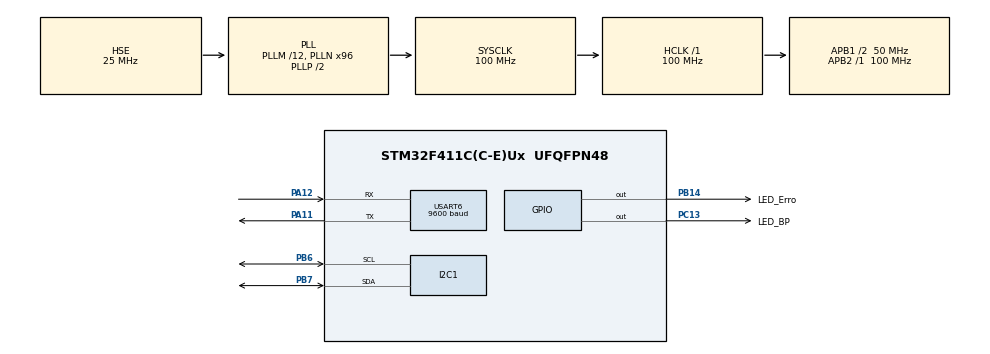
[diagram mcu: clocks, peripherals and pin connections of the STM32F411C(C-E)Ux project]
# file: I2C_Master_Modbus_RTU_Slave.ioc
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Dma.Request0=USART6_RX
Dma.USART6_RX.0.Direction=DMA_PERIPH_TO_MEMORY
Dma.USART6_RX.0.FIFOMode=DMA_FIFOMODE_DISABLE
Dma.USART6_RX.0.Instance=DMA2_Stream1
Dma.USART6_RX.0.MemDataAlignment=DMA_MDATAALIGN_BYTE
Dma.USART6_RX.0.MemInc=DMA_MINC_ENABLE
Dma.USART6_RX.0.Mode=DMA_NORMAL
Dma.USART6_RX.0.PeriphDataAlignment=DMA_PDATAALIGN_BYTE
Dma.USART6_RX.0.PeriphInc=DMA_PINC_DISABLE
Dma.USART6_RX.0.Priority=DMA_PRIORITY_MEDIUM
IWDG.Prescaler=IWDG_PRESCALER_256
IWDG.Reload=1500-1
Mcu.Family=STM32F4
Mcu.Name=STM32F411C(C-E)Ux
Mcu.Package=UFQFPN48
NVIC.DMA2_Stream1_IRQn=true\:0\:0\:false\:false\:true\:false\:true\:true
NVIC.I2C1_ER_IRQn=true\:0\:0\:false\:false\:true\:true\:true\:true
NVIC.I2C1_EV_IRQn=true\:0\:0\:false\:false\:true\:true\:true\:true
NVIC.PriorityGroup=NVIC_PRIORITYGROUP_4
NVIC.TIM3_IRQn=true\:0\:0\:false\:false\:true\:true\:true\:true
NVIC.USART6_IRQn=true\:0\:0\:false\:false\:true\:true\:true\:true
PA11.Mode=Asynchronous
PA11.Signal=USART6_TX
PA12.Mode=Asynchronous
PA12.Signal=USART6_RX
PA13.Mode=Serial_Wire
PA13.Signal=SYS_JTMS-SWDIO
PA14.Mode=Serial_Wire
PA14.Signal=SYS_JTCK-SWCLK
PB14.GPIO_Label=LED_Erro
PB14.Signal=GPIO_Output
PB6.Mode=I2C
PB6.Signal=I2C1_SCL
PB7.Mode=I2C
PB7.Signal=I2C1_SDA
PC13-ANTI_TAMP.GPIO_Label=LED_BP
PC13-ANTI_TAMP.Signal=GPIO_Output
PH0\ -\ OSC_IN.Mode=HSE-External-Oscillator
PH0\ -\ OSC_IN.Signal=RCC_OSC_IN
PH1\ -\ OSC_OUT.Mode=HSE-External-Oscillator
PH1\ -\ OSC_OUT.Signal=RCC_OSC_OUT
ProjectManager.HeapSize=0x200
ProjectManager.StackSize=0x400
ProjectManager.TargetToolchain=STM32CubeIDE
RCC.48MHZClocksFreq_Value=50000000
RCC.AHBFreq_Value=100000000
RCC.APB1CLKDivider=RCC_HCLK_DIV2
RCC.APB1Freq_Value=50000000
RCC.APB1TimFreq_Value=100000000
RCC.APB2Freq_Value=100000000
RCC.APB2TimFreq_Value=100000000
RCC.CortexFreq_Value=100000000
RCC.HCLKFreq_Value=100000000
RCC.HSE_VALUE=25000000
RCC.HSI_VALUE=16000000
RCC.LSE_VALUE=32768
RCC.PLLM=12
RCC.PLLN=96
RCC.PLLSourceVirtual=RCC_PLLSOURCE_HSE
RCC.SYSCLKFreq_VALUE=100000000
RCC.SYSCLKSource=RCC_SYSCLKSOURCE_PLLCLK
RCC.VCOOutputFreq_Value=200000000
TIM3.AutoReloadPreload=TIM_AUTORELOAD_PRELOAD_ENABLE
TIM3.Period=10-1
TIM3.Prescaler=10000-1
USART6.BaudRate=9600
USART6.VirtualMode=VM_ASYNC
VP_IWDG_VS_IWDG.Mode=IWDG_Activate
VP_TIM3_VS_ClockSourceINT.Mode=Internal
board=custom

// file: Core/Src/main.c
/* USER CODE BEGIN Header */
/**
  ******************************************************************************
  * @file           : main.c
  * @brief          : Main program body
  ******************************************************************************
  * @attention
  *
  * Copyright (c) 2025 STMicroelectronics.
  * All rights reserved.
  *
  * This software is licensed under terms that can be found in the LICENSE file
  * in the root directory of this software component.
  * If no LICENSE file comes with this software, it is provided AS-IS.
  *
  ******************************************************************************
  */
/* USER CODE END Header */
#include "main.h"

/* USER CODE BEGIN Includes */
#include "i2c_master.h"

#include <stdio.h>
#include <stdlib.h>
#include <string.h>
#include <math.h>
/* USER CODE END Includes */

/* USER CODE BEGIN PD */
#define MODBUS_RTU_ID 1															// Endereço de Escravo do STM32
#define MODBUS_RTU_Timeout 1000													// Em ms
#define MODBUS_RTU_Broadcast 0													// 0 - Desativado | 1 - Ativado
#define MODBUS_RTU_USART huart6													// USART selecionada, caso troque pela interface IOC, atualizar manualmente por aqui.
#define MODBUS_RTU_HDMA_USART_RX hdma_usart6_rx									// USART selecionada, caso troque pela interface IOC, atualizar manualmente por aqui.
#define MODBUS_RTU_Tamanho_Buffer_RX 256										// Tamanho máximo para evitar sobrecarga

#define MODBUS_RTU_Codigo_Read_Coil 1
#define MODBUS_RTU_Codigo_Read_Discrete_Input 2
#define MODBUS_RTU_Codigo_Read_Holding_Register 3
#define MODBUS_RTU_Codigo_Read_Input_Register 4
#define MODBUS_RTU_Codigo_Write_Single_Coil 5
#define MODBUS_RTU_Codigo_Write_Single_Register 6
#define MODBUS_RTU_Codigo_Write_Multiple_Coils 15
#define MODBUS_RTU_Codigo_Write_Multiple_Registers 16

#define MODBUS_RTU_Codigo_Erro_Read_Coil 129
#define MODBUS_RTU_Codigo_Erro_Read_Discrete_Input 130
#define MODBUS_RTU_Codigo_Erro_Read_Holding_Register 131
#define MODBUS_RTU_Codigo_Erro_Read_Input_Register 132
#define MODBUS_RTU_Codigo_Erro_Write_Single_Coil 133
#define MODBUS_RTU_Codigo_Erro_Write_Single_Register 134
#define MODBUS_RTU_Codigo_Erro_Write_Multiple_Coils 143
#define MODBUS_RTU_Codigo_Erro_Write_Multiple_Registers 144

#define MODBUS_RTU_Codigo_Erro_Illegal_Function 1								// Código de função recebido na consulta não é reconhecido ou permitido pelo servidor
#define MODBUS_RTU_Codigo_Erro_Illegal_Data_Address	2							// O endereço de dados de algumas ou todas as entidades necessárias não é permitido ou não existe no servidor
#define MODBUS_RTU_Codigo_Erro_Illegal_Data_Value 3								// O valor não é aceito pelo servidor
#define MODBUS_RTU_Codigo_Erro_Server_Device_Failure 4							// Ocorreu um erro irrecuperável enquanto o servidor tentava executar a ação solicitada
#define MODBUS_RTU_Codigo_Erro_Acknowledge 5									// O servidor aceitou a solicitação e está processando-a, mas é necessário um longo período de tempo. Essa resposta é retornada para evitar que ocorra um erro de tempo limite no cliente. Em seguida, o cliente pode emitir uma mensagem de Poll Program Complete para determinar se o processamento foi concluído
#define MODBUS_RTU_Codigo_Erro_Server_Device_Busy 6								// O servidor está envolvido no processamento de um comando de longa duração; o cliente deve tentar novamente mais tarde
#define MODBUS_RTU_Codigo_Erro_Negative_Acknowledge	7							// O servidor não pode executar as funções de programação; o cliente deve solicitar informações de diagnóstico ou erro do servidor
#define MODBUS_RTU_Codigo_Erro_Memory_Parity_Error 8							// O servidor detectou um erro de paridade na memória; o cliente pode repetir a solicitação
#define MODBUS_RTU_Codigo_Erro_Gateway_Path_Unavailable	10						// Especializado para gateways Modbus: indica um gateway mal configurado
#define MODBUS_RTU_Codigo_Erro_Gateway_Target_Device_Failed_to_Respond 11		// Especializado para gateways Modbus: enviado quando o servidor não responde

#define GPIO_LED_BP GPIOC
#define GPIO_LED_Erro GPIOB

#define TempoTesteReles 100
#define TEMPO_LED_ERRO 10

#define QTD_ERRO_MODBUS 10

#define USART6_PERSONALIZADO 1
/* USER CODE END PD */

/* USER CODE BEGIN PM */
#define	Bit(n)							(1 << n) 										// retorna o valor de um bit específico
#define CLEAR_Bit(x, Bit)				(x &= ~(1 << Bit))								// limpa o valor de um bit específico em uma variável
#define GET_Bit(x, n)   				(((x) >> (n)) & 0x01)							// retorna o valor de um bit específico em uma variável									// retorna o valor de um bit específico em uma variável
#define SET_Bit(x, Bit)					(x |= (1 << Bit))								// define o valor de um bit específico em uma variável
#define TEST_Bit(x, Bit)				((x >> Bit) & 1)								// retorna se o valor de um bit específico em uma variável é 1 ou 0
#define TOGGLE_Bit(x, Bit)				(x ^= (1 << Bit))								// inverte o valor de um bit específico em uma variável
#define ROTATE_LEFT(x, n)				(x = (x << n) | (x >> (sizeof(x) * 8 - n)))		// rotaciona os bits de uma variável x para a esquerda n vezes
#define ROTATE_RIGHT(x, n)				(x = (x >> n)									// rotaciona os bits de uma variável x para a direita n vezes
#define compare_enum_greater_equal(x,y) ((uint16_t)(x)>=(uint16_t)(y))
#define MIN(a, b) 						(((a) < (b)) ? (a) : (b))
/* USER CODE END PM */

I2C_HandleTypeDef hi2c1;

IWDG_HandleTypeDef hiwdg;

TIM_HandleTypeDef htim3;

UART_HandleTypeDef huart6;
DMA_HandleTypeDef hdma_usart6_rx;

/* USER CODE BEGIN PV */
struct _Bits
{
	unsigned WD_MODBUS_RTU : 1;
	unsigned M_Baud_9600 : 1;
	unsigned M_Baud_19200 : 1;
	unsigned M_Teste_Reles : 1;
	unsigned M_LED_Erro : 1;
	unsigned M_Troca_Baud : 1;
}Bit;

uint8_t txDataValue[2] = {0};
uint8_t rxDataValue[2] = {0};

volatile uint16_t MODBUS_CRC;					//CRC Total
volatile uint8_t MODBUS_CRC_High_Byte;			//CRC High Byte
volatile uint8_t MODBUS_CRC_Low_Byte;			//CRC Low Byte

volatile uint8_t MODBUS_RTU_Escravo = MODBUS_RTU_ID;

uint8_t MODBUS_RTU_Buffer_RX[256]; //Variável Global Para Recebimento de Dados Serial.
uint8_t MODBUS_RTU_Buffer_TX[256]; //Variável Global Para Transmissão de Dados Serial.

uint8_t MODBUS_RTU_Buffer_RX_Auxiliar[256]; //Variável Global Para Recebimento de Dados Serial.

//uint8_t MODBUS_RTU_Tamanho_Buffer_RX; //Variável Global Para Tamanho do RX.

volatile uint16_t MODBUS_RTU_Endereco = 0;
volatile uint16_t MODBUS_RTU_Quantidade_Bits = 0;
volatile uint16_t MODBUS_RTU_Quantidade_Bytes = 0;
volatile uint16_t MODBUS_RTU_Quantidade_Registers = 0;

volatile uint8_t MODBUS_RTU_Valor_Bit = 0;
volatile uint16_t MODBUS_RTU_Valor_Registrador = 0;

uint8_t LED = 0;

uint8_t flagI2C = 0;
uint8_t falhaI2C = 0;

volatile uint8_t contadorFlagI2C = 0;
volatile uint8_t ContadorErroModbus = 0;
volatile uint8_t ContadorInterrupcaoUsartModbus = 0;
volatile uint8_t TemporizadorInterrupcaoUsartModbus = 0;

volatile uint16_t ContadorTesteReles = 0;
volatile uint16_t ContadorLedErro = 0;

volatile uint32_t baudRate = 9600;
// Variáveis relativas ao Modbus

// Declaração dos endereços do tipo discrete inputs (bits somente de leitura)
enum _Enderecos_Discrete_Inputs
{
	Alarme1,
	Alarme2,
	Alarme3,
	Alarme4,
	Alarme5,
	Alarme6,
	Alarme7,
	Alarme8,
	Alarme9,
	Alarme10,
	Alarme11,
	Alarme12,
	Falha_I2C,

	Quantidade_Discrete_Inputs = 16
}Enderecos_Discrete_Inputs;

// Declaração dos endereços do tipo coils (bits de leitura e escrita)
enum _Enderecos_Coils
{

	Quantidade_Coils = 16
}Enderecos_Coils;

// Declaração dos endereços do tipo input registers (registradores somente de leitura)
enum _Enderecos_Input_Registers
{
	Alarmesx1,
	Alarmesx2,

	Quantidade_Input_Registers
}Enderecos_Input_Registers;

// Declaração dos endereços do tipo holding registers (registradores de leitura e escrita)
enum _Enderecos_Holding_Registers
{

	Quantidade_Holding_Registers
}Enderecos_Holding_Registers;

// Matrizes do Modbus

// Declaração de uma matriz para armazenar os valores referentes às discrete inputs
uint8_t Discrete_Inputs[Quantidade_Discrete_Inputs];

// Declaração de uma matriz para armazenar os valores referentes aos coils
uint8_t Coils[Quantidade_Coils];

// Declaração de uma matriz para armazenar os valores referentes aos input registers
uint16_t Input_Registers[Quantidade_Input_Registers];

// Declaração de uma matriz para armazenar os valores referentes aos holding registers
uint16_t Holding_Registers[Quantidade_Holding_Registers];
/* USER CODE END PV */

void SystemClock_Config(void);
static void MX_GPIO_Init(void);
static void MX_DMA_Init(void);
static void MX_I2C1_Init(void);
static void MX_USART6_UART_Init(void);
static void MX_TIM3_Init(void);
static void MX_IWDG_Init(void);
/* USER CODE BEGIN PFP */
//Função de Cálculo CRC Modbus;
uint16_t Calculo_CRC_MODBUS(uint8_t buf[], uint16_t len)
{
    uint16_t crc = 0xFFFF;

    for (uint16_t i = 0; i < len; i++)
    {
        crc ^= buf[i];

        for (uint16_t j = 0; j < 8; j++)
        {
            if (crc & 0x0001) crc = (crc >> 1) ^ 0xA001;
            else crc = (crc >> 1);
        }
    }
    return crc;
}

void MODBUS_RTU_Funcao_Erro(uint8_t Codigo_Erro)		// FUNÇÃO ERRO
{
	if (MODBUS_RTU_Buffer_RX[0] != 0)
	{
		MODBUS_RTU_Buffer_TX[0] = MODBUS_RTU_Escravo;								//Endereço de Escravo
		MODBUS_RTU_Buffer_TX[1] = MODBUS_RTU_Buffer_RX[1] + 128;					//Código da Função com Erro
		MODBUS_RTU_Buffer_TX[2] = Codigo_Erro;										//

		MODBUS_CRC = Calculo_CRC_MODBUS(MODBUS_RTU_Buffer_TX, 3);

		MODBUS_RTU_Buffer_TX[3] = MODBUS_CRC & 0xFF;
		MODBUS_RTU_Buffer_TX[4] = MODBUS_CRC >> 8;

		HAL_UART_Transmit(&MODBUS_RTU_USART, MODBUS_RTU_Buffer_TX, 5, MODBUS_RTU_Timeout);

		if (Bit.M_LED_Erro == 0)
		{
			HAL_GPIO_WritePin(GPIO_LED_Erro, LED_Erro_Pin, 1);
			Bit.M_LED_Erro = 1;
		}

		ContadorErroModbus = ContadorErroModbus + 2;
	}
}

void MODBUS_RTU_Funcao_Read_Coil()						// FUNÇÃO 01
{
	if (Quantidade_Coils > 0)
	{
		MODBUS_RTU_Endereco = (MODBUS_RTU_Buffer_RX[2] << 8) | (MODBUS_RTU_Buffer_RX[3]);
		MODBUS_RTU_Quantidade_Bits = (MODBUS_RTU_Buffer_RX[4] << 8) | (MODBUS_RTU_Buffer_RX[5]);
		MODBUS_RTU_Quantidade_Bytes = (MODBUS_RTU_Quantidade_Bits + 7) / 8;

		if ((MODBUS_RTU_Endereco + MODBUS_RTU_Quantidade_Bits) <= MIN(Quantidade_Coils, 9999))
		{
			MODBUS_RTU_Buffer_TX[0] = MODBUS_RTU_Escravo;												//Endereço de Escravo
			MODBUS_RTU_Buffer_TX[1] = MODBUS_RTU_Codigo_Read_Coil;										//Código da Função
			MODBUS_RTU_Buffer_TX[2] = MODBUS_RTU_Quantidade_Bytes;										//Número de Bytes de Dados

			uint8_t Contador = 0;
			for (int i = 0; i < MODBUS_RTU_Quantidade_Bits; i++)
			{
			    if (Contador < 8)
			    {
			    	if (Coils[i + MODBUS_RTU_Endereco] == 1)
			    	{
			    		SET_Bit (MODBUS_RTU_Buffer_TX[3 + (i / 8)], Contador);
			    	}
			    	else
			    	{
			    		CLEAR_Bit (MODBUS_RTU_Buffer_TX[3 + (i / 8)], Contador);
			    	}
			        Contador++;
			    }
			    if (Contador >= 8) Contador = 0;
			}

			//Executa Função do Cálculo do CRC
			MODBUS_CRC = Calculo_CRC_MODBUS(MODBUS_RTU_Buffer_TX, MODBUS_RTU_Quantidade_Bytes + 3);
			MODBUS_RTU_Buffer_TX[MODBUS_RTU_Quantidade_Bytes + 3] = MODBUS_CRC & 0xFF;
			MODBUS_RTU_Buffer_TX[MODBUS_RTU_Quantidade_Bytes + 4] = MODBUS_CRC >> 8;

			HAL_UART_Transmit(&MODBUS_RTU_USART, MODBUS_RTU_Buffer_TX, MODBUS_RTU_Quantidade_Bytes + 5, MODBUS_RTU_Timeout);
		}
		else MODBUS_RTU_Funcao_Erro(MODBUS_RTU_Codigo_Erro_Illegal_Data_Address);
	}
	else MODBUS_RTU_Funcao_Erro(MODBUS_RTU_Codigo_Erro_Illegal_Function);
}

void MODBUS_RTU_Funcao_Read_Discrete_Input()			// FUNÇÃO 02
{
	if (Quantidade_Discrete_Inputs > 0)
	{
		MODBUS_RTU_Endereco = (MODBUS_RTU_Buffer_RX[2] << 8) | (MODBUS_RTU_Buffer_RX[3]);
		MODBUS_RTU_Quantidade_Bits = (MODBUS_RTU_Buffer_RX[4] << 8) | (MODBUS_RTU_Buffer_RX[5]);
		MODBUS_RTU_Quantidade_Bytes = (MODBUS_RTU_Quantidade_Bits + 7) / 8;

		if ((MODBUS_RTU_Endereco + MODBUS_RTU_Quantidade_Bits) <= MIN(Quantidade_Discrete_Inputs, 9999))
		{
			MODBUS_RTU_Buffer_TX[0] = MODBUS_RTU_Escravo;												//Endereço de Escravo
			MODBUS_RTU_Buffer_TX[1] = MODBUS_RTU_Codigo_Read_Discrete_Input;							//Código da Função
			MODBUS_RTU_Buffer_TX[2] = MODBUS_RTU_Quantidade_Bytes;										//Número de Bytes de Dados

			uint8_t Contador = 0;
			for (int i = 0; i < MODBUS_RTU_Quantidade_Bits; i++)
			{
			    if (Contador < 8)
			    {
			    	if (Discrete_Inputs[i + MODBUS_RTU_Endereco] == 1)
			    	{
			    		SET_Bit (MODBUS_RTU_Buffer_TX[3 + (i / 8)], Contador);
			    	}
			    	else
			    	{
			    		CLEAR_Bit (MODBUS_RTU_Buffer_TX[3 + (i / 8)], Contador);
			    	}
			        Contador++;
			    }
			    if (Contador >= 8) Contador = 0;
			}

			//Executa Função do Cálculo do CRC
			MODBUS_CRC = Calculo_CRC_MODBUS(MODBUS_RTU_Buffer_TX, MODBUS_RTU_Quantidade_Bytes + 3);
			MODBUS_RTU_Buffer_TX[MODBUS_RTU_Quantidade_Bytes + 3] = MODBUS_CRC & 0xFF;
			MODBUS_RTU_Buffer_TX[MODBUS_RTU_Quantidade_Bytes + 4] = MODBUS_CRC >> 8;

			HAL_UART_Transmit(&MODBUS_RTU_USART, MODBUS_RTU_Buffer_TX, MODBUS_RTU_Quantidade_Bytes + 5, MODBUS_RTU_Timeout);
		}
		else MODBUS_RTU_Funcao_Erro(MODBUS_RTU_Codigo_Erro_Illegal_Data_Address);
	}
	else MODBUS_RTU_Funcao_Erro(MODBUS_RTU_Codigo_Erro_Illegal_Function);
}

void MODBUS_RTU_Funcao_Read_Holding_Register()			// FUNÇÃO 03
{
	if (Quantidade_Holding_Registers > 0)
	{
		MODBUS_RTU_Endereco = (MODBUS_RTU_Buffer_RX[2] << 8) | (MODBUS_RTU_Buffer_RX[3]);
		MODBUS_RTU_Quantidade_Registers = (MODBUS_RTU_Buffer_RX[4] << 8) | (MODBUS_RTU_Buffer_RX[5]);

		if ((MODBUS_RTU_Endereco + MODBUS_RTU_Quantidade_Registers) <= MIN(Quantidade_Holding_Registers, 9999))
		{
			MODBUS_RTU_Quantidade_Bytes = MODBUS_RTU_Quantidade_Registers * 2;

			MODBUS_RTU_Buffer_TX[0] = MODBUS_RTU_Escravo;												//Endereço de Escravo
			MODBUS_RTU_Buffer_TX[1] = MODBUS_RTU_Codigo_Read_Holding_Register;							//Código da Função
			MODBUS_RTU_Buffer_TX[2] = MODBUS_RTU_Quantidade_Bytes;										//Número de Bytes de Dados

			for (int i = 0; i <= (MODBUS_RTU_Quantidade_Registers - 1); i++)
			{
				MODBUS_RTU_Buffer_TX[3 + (i * 2)] = (Holding_Registers[i + MODBUS_RTU_Endereco]) >> 8;
				MODBUS_RTU_Buffer_TX[4 + (i * 2)] = (Holding_Registers[i + MODBUS_RTU_Endereco]) & 0xFF;
			}

			//Executa Função do Cálculo do CRC
			MODBUS_CRC = Calculo_CRC_MODBUS(MODBUS_RTU_Buffer_TX, MODBUS_RTU_Quantidade_Bytes + 3);
			MODBUS_RTU_Buffer_TX[MODBUS_RTU_Quantidade_Bytes + 3] = MODBUS_CRC & 0xFF;
			MODBUS_RTU_Buffer_TX[MODBUS_RTU_Quantidade_Bytes + 4] = MODBUS_CRC >> 8;

			HAL_UART_Transmit(&MODBUS_RTU_USART, MODBUS_RTU_Buffer_TX, MODBUS_RTU_Quantidade_Bytes + 5, MODBUS_RTU_Timeout);
		}
		else MODBUS_RTU_Funcao_Erro(MODBUS_RTU_Codigo_Erro_Illegal_Data_Address);
	}
	else MODBUS_RTU_Funcao_Erro(MODBUS_RTU_Codigo_Erro_Illegal_Function);
}

void MODBUS_RTU_Funcao_Read_Input_Register()			// FUNÇÃO 04
{
	if (Quantidade_Input_Registers > 0)
	{
		MODBUS_RTU_Endereco = (MODBUS_RTU_Buffer_RX[2] << 8) | (MODBUS_RTU_Buffer_RX[3]);
		MODBUS_RTU_Quantidade_Registers = (MODBUS_RTU_Buffer_RX[4] << 8) | (MODBUS_RTU_Buffer_RX[5]);

		if ((MODBUS_RTU_Endereco + MODBUS_RTU_Quantidade_Registers) <= MIN(Quantidade_Input_Registers, 9999))
		{
			MODBUS_RTU_Quantidade_Bytes = MODBUS_RTU_Quantidade_Registers * 2;

			MODBUS_RTU_Buffer_TX[0] = MODBUS_RTU_Escravo;												//Endereço de Escravo
			MODBUS_RTU_Buffer_TX[1] = MODBUS_RTU_Codigo_Read_Input_Register;							//Código da Função
			MODBUS_RTU_Buffer_TX[2] = MODBUS_RTU_Quantidade_Bytes;										//Número de Bytes de Dados

			for (int i = 0; i <= MODBUS_RTU_Quantidade_Registers - 1; i++)
			{
				MODBUS_RTU_Buffer_TX[3 + (i * 2)] = (Input_Registers[i + MODBUS_RTU_Endereco]) >> 8;
				MODBUS_RTU_Buffer_TX[4 + (i * 2)] = (Input_Registers[i + MODBUS_RTU_Endereco]) & 0xFF;
			}

			//Executa Função do Cálculo do CRC
			MODBUS_CRC = Calculo_CRC_MODBUS(MODBUS_RTU_Buffer_TX, MODBUS_RTU_Quantidade_Bytes + 3);
			MODBUS_RTU_Buffer_TX[MODBUS_RTU_Quantidade_Bytes + 3] = MODBUS_CRC & 0xFF;
			MODBUS_RTU_Buffer_TX[MODBUS_RTU_Quantidade_Bytes + 4] = MODBUS_CRC >> 8;

			HAL_UART_Transmit(&MODBUS_RTU_USART, MODBUS_RTU_Buffer_TX, MODBUS_RTU_Quantidade_Bytes + 5, MODBUS_RTU_Timeout);
		}
		else MODBUS_RTU_Funcao_Erro(MODBUS_RTU_Codigo_Erro_Illegal_Data_Address);
	}
	else MODBUS_RTU_Funcao_Erro(MODBUS_RTU_Codigo_Erro_Illegal_Function);
}

void MODBUS_RTU_Funcao_Write_Single_Coil()				// FUNÇÃO 05
{
	if (Quantidade_Coils > 0)
	{
		MODBUS_RTU_Endereco = (MODBUS_RTU_Buffer_RX[2] << 8) | (MODBUS_RTU_Buffer_RX[3]);

		if (MODBUS_RTU_Endereco <= MIN((Quantidade_Coils - 1), 9998))
		{
			if ((MODBUS_RTU_Buffer_RX[4] == 0 || MODBUS_RTU_Buffer_RX[4] == 255) && (MODBUS_RTU_Buffer_RX[5] == 0))
			{
				if (MODBUS_RTU_Buffer_RX[4] == 255) Coils[MODBUS_RTU_Endereco] = 1;
				else Coils[MODBUS_RTU_Endereco] = 0;

				if (MODBUS_RTU_Buffer_RX[0] != 0)
				HAL_UART_Transmit(&MODBUS_RTU_USART, MODBUS_RTU_Buffer_RX, 8, MODBUS_RTU_Timeout);
			}
			else MODBUS_RTU_Funcao_Erro(MODBUS_RTU_Codigo_Erro_Illegal_Data_Value);
		}
		else MODBUS_RTU_Funcao_Erro(MODBUS_RTU_Codigo_Erro_Illegal_Data_Address);
	}
	else MODBUS_RTU_Funcao_Erro(MODBUS_RTU_Codigo_Erro_Illegal_Function);
}

void MODBUS_RTU_Funcao_Write_Single_Register()			// FUNÇÃO 06
{
	if (Quantidade_Holding_Registers > 0)
	{
		MODBUS_RTU_Endereco = (MODBUS_RTU_Buffer_RX[2] << 8) | (MODBUS_RTU_Buffer_RX[3]);

		if (MODBUS_RTU_Endereco <= MIN((Quantidade_Holding_Registers - 1), 9998))
		{
			Holding_Registers[MODBUS_RTU_Endereco] = (MODBUS_RTU_Buffer_RX[4] << 8) | (MODBUS_RTU_Buffer_RX[5]);

			if (MODBUS_RTU_Buffer_RX[0] != 0)
			HAL_UART_Transmit(&MODBUS_RTU_USART, MODBUS_RTU_Buffer_RX, 8, MODBUS_RTU_Timeout);
		}
		else MODBUS_RTU_Funcao_Erro(MODBUS_RTU_Codigo_Erro_Illegal_Data_Address);
	}
	else MODBUS_RTU_Funcao_Erro(MODBUS_RTU_Codigo_Erro_Illegal_Function);
}

void MODBUS_RTU_Funcao_Write_Multiple_Coils()			// FUNÇÃO 15
{
	if (Quantidade_Coils > 0)
	{
		MODBUS_RTU_Endereco = (MODBUS_RTU_Buffer_RX[2] << 8) | (MODBUS_RTU_Buffer_RX[3]);
		MODBUS_RTU_Quantidade_Bits = (MODBUS_RTU_Buffer_RX[4] << 8) | (MODBUS_RTU_Buffer_RX[5]);

		if ((MODBUS_RTU_Endereco + MODBUS_RTU_Quantidade_Bits) <= MIN(Quantidade_Coils, 9999))
		{

			for (int i = 0; i <= MODBUS_RTU_Quantidade_Bits - 1; i++)
			{
			    // Obter o byte certo (i / 8) e o bit certo dentro do byte (i % 8)
			    Coils[i + MODBUS_RTU_Endereco] = (MODBUS_RTU_Buffer_RX[7 + (i / 8)] & (1 << (i % 8))) ? 1 : 0;
			}

			MODBUS_RTU_Buffer_TX[0] = MODBUS_RTU_Escravo;												//Endereço de Escravo
			MODBUS_RTU_Buffer_TX[1] = MODBUS_RTU_Codigo_Write_Multiple_Coils;							//Código da Função
			MODBUS_RTU_Buffer_TX[2] = MODBUS_RTU_Buffer_RX[2];											//
			MODBUS_RTU_Buffer_TX[3] = MODBUS_RTU_Buffer_RX[3];											//
			MODBUS_RTU_Buffer_TX[4] = MODBUS_RTU_Buffer_RX[4];											//
			MODBUS_RTU_Buffer_TX[5] = MODBUS_RTU_Buffer_RX[5];											//

			//Executa Função do Cálculo do CRC
			MODBUS_CRC = Calculo_CRC_MODBUS(MODBUS_RTU_Buffer_TX, 6);
			MODBUS_RTU_Buffer_TX[6] = MODBUS_CRC & 0xFF;
			MODBUS_RTU_Buffer_TX[7] = MODBUS_CRC >> 8;

			if (MODBUS_RTU_Buffer_RX[0] != 0)
			HAL_UART_Transmit(&MODBUS_RTU_USART, MODBUS_RTU_Buffer_TX, 8, MODBUS_RTU_Timeout);
		}
		else MODBUS_RTU_Funcao_Erro(MODBUS_RTU_Codigo_Erro_Illegal_Data_Address);
	}
	else MODBUS_RTU_Funcao_Erro(MODBUS_RTU_Codigo_Erro_Illegal_Function);
}

void MODBUS_RTU_Funcao_Write_Multiple_Registers()		// FUNÇÃO 16
{
	if (Quantidade_Holding_Registers > 0)
	{
		MODBUS_RTU_Endereco = (MODBUS_RTU_Buffer_RX[2] << 8) | (MODBUS_RTU_Buffer_RX[3]);
		MODBUS_RTU_Quantidade_Registers = (MODBUS_RTU_Buffer_RX[4] << 8) | (MODBUS_RTU_Buffer_RX[5]);

		if ((MODBUS_RTU_Endereco + MODBUS_RTU_Quantidade_Registers) <= MIN(Quantidade_Holding_Registers, 9999))
		{
			for (int i = 0; i <= MODBUS_RTU_Quantidade_Registers - 1; i++)
			{
				Holding_Registers[i + MODBUS_RTU_Endereco] = (MODBUS_RTU_Buffer_RX[(i * 2) + 7] << 8) | MODBUS_RTU_Buffer_RX[(i * 2) + 8];
			}

			MODBUS_RTU_Buffer_TX[0] = MODBUS_RTU_Escravo;												//Endereço de Escravo
			MODBUS_RTU_Buffer_TX[1] = MODBUS_RTU_Codigo_Write_Multiple_Registers;						//Código da Função
			MODBUS_RTU_Buffer_TX[2] = MODBUS_RTU_Buffer_RX[2];											//
			MODBUS_RTU_Buffer_TX[3] = MODBUS_RTU_Buffer_RX[3];											//
			MODBUS_RTU_Buffer_TX[4] = MODBUS_RTU_Buffer_RX[4];											//
			MODBUS_RTU_Buffer_TX[5] = MODBUS_RTU_Buffer_RX[5];											//

			//Executa Função do Cálculo do CRC
			MODBUS_CRC = Calculo_CRC_MODBUS(MODBUS_RTU_Buffer_TX, 6);
			MODBUS_RTU_Buffer_TX[6] = MODBUS_CRC & 0xFF;
			MODBUS_RTU_Buffer_TX[7] = MODBUS_CRC >> 8;

			if (MODBUS_RTU_Buffer_RX[0] != 0)
			HAL_UART_Transmit(&MODBUS_RTU_USART, MODBUS_RTU_Buffer_TX, 8, MODBUS_RTU_Timeout);
		}
		else MODBUS_RTU_Funcao_Erro(MODBUS_RTU_Codigo_Erro_Illegal_Data_Address);
	}
	else MODBUS_RTU_Funcao_Erro(MODBUS_RTU_Codigo_Erro_Illegal_Function);
}

//==============================================================================
// FUNÇÕES DE INTERRUPÇÕES
//==============================================================================

//Interrupção de Recebimento Serial
void HAL_UARTEx_RxEventCallback(UART_HandleTypeDef *huart, uint16_t Tamanho)
{
	__disable_irq();
	memcpy(MODBUS_RTU_Buffer_RX, MODBUS_RTU_Buffer_RX_Auxiliar, Tamanho);
	__enable_irq();

	if (huart == &MODBUS_RTU_USART)	//Verifica se a Usart do MODBUS Recebeu Dados Serial
	{

//		memcpy(MODBUS_RTU_Buffer_RX, MODBUS_RTU_Buffer_RX_Auxiliar, MODBUS_RTU_Tamanho_Buffer_RX);

		if (Tamanho > MODBUS_RTU_Tamanho_Buffer_RX)
		{
		    // Descarte a mensagem, pois o tamanho excedeu o buffer
		    HAL_UARTEx_ReceiveToIdle_DMA(&MODBUS_RTU_USART, MODBUS_RTU_Buffer_RX_Auxiliar, MODBUS_RTU_Tamanho_Buffer_RX);
		    __HAL_DMA_DISABLE_IT(&MODBUS_RTU_HDMA_USART_RX, DMA_IT_HT);
		    return;
		}

		// Verifique e limpe erros da UART
		if (__HAL_UART_GET_FLAG(&MODBUS_RTU_USART, UART_FLAG_ORE))
		{
		    __HAL_UART_CLEAR_OREFLAG(&MODBUS_RTU_USART);
		}
		if (__HAL_UART_GET_FLAG(&MODBUS_RTU_USART, UART_FLAG_FE))
		{
		    __HAL_UART_CLEAR_FEFLAG(&MODBUS_RTU_USART);
		}
		if (__HAL_UART_GET_FLAG(&MODBUS_RTU_USART, UART_FLAG_NE))
		{
		    __HAL_UART_CLEAR_NEFLAG(&MODBUS_RTU_USART);
		}

		//Verifica o Endereço de Escravo do Modbus
		if (MODBUS_RTU_Buffer_RX[0] == MODBUS_RTU_Escravo && MODBUS_RTU_Buffer_RX[0] != 0 && MODBUS_RTU_Buffer_RX[0] <= 247 && Tamanho >= 8)
		{
			switch (MODBUS_RTU_Buffer_RX[1])
			{
				case MODBUS_RTU_Codigo_Read_Coil:					// Função 01
					MODBUS_RTU_Funcao_Read_Coil();
					break;

				case MODBUS_RTU_Codigo_Read_Discrete_Input:			// Função 02
					MODBUS_RTU_Funcao_Read_Discrete_Input();
					break;

				case MODBUS_RTU_Codigo_Read_Holding_Register:		// Função 03
					MODBUS_RTU_Funcao_Read_Holding_Register();
					break;

				case MODBUS_RTU_Codigo_Read_Input_Register:			// Função 04
					MODBUS_RTU_Funcao_Read_Input_Register();
					break;

				case MODBUS_RTU_Codigo_Write_Single_Coil:			// Função 05
					MODBUS_RTU_Funcao_Write_Single_Coil();
					break;

				case MODBUS_RTU_Codigo_Write_Single_Register:		// Função 06
					MODBUS_RTU_Funcao_Write_Single_Register();
					break;

				case MODBUS_RTU_Codigo_Write_Multiple_Coils:		// Função 15
					MODBUS_RTU_Funcao_Write_Multiple_Coils();
					break;

				case MODBUS_RTU_Codigo_Write_Multiple_Registers:	// Função 16
					MODBUS_RTU_Funcao_Write_Multiple_Registers();
					break;

				default:
					MODBUS_RTU_Funcao_Erro(MODBUS_RTU_Codigo_Erro_Illegal_Function);
					break;
			}
		} // Verificação Escravo MODBUS RTU
		else if (MODBUS_RTU_Buffer_RX[0] == 0 && MODBUS_RTU_Broadcast == 1 && Tamanho >= 8)
		{
			switch (MODBUS_RTU_Buffer_RX[1])
			{
				case MODBUS_RTU_Codigo_Write_Single_Coil:			// Função 05
					MODBUS_RTU_Funcao_Write_Single_Coil();
					break;

				case MODBUS_RTU_Codigo_Write_Single_Register:		// Função 06
					MODBUS_RTU_Funcao_Write_Single_Register();
					break;

				case MODBUS_RTU_Codigo_Write_Multiple_Coils:		// Função 15
					MODBUS_RTU_Funcao_Write_Multiple_Coils();
					break;

				case MODBUS_RTU_Codigo_Write_Multiple_Registers:	// Função 16
					MODBUS_RTU_Funcao_Write_Multiple_Registers();
					break;
			}
		}

		memset(MODBUS_RTU_Buffer_RX_Auxiliar, '\0', sizeof(MODBUS_RTU_Buffer_RX_Auxiliar));

        // Reinicia o DMA para o próximo recebimento
        if (HAL_UARTEx_ReceiveToIdle_DMA(&MODBUS_RTU_USART, MODBUS_RTU_Buffer_RX_Auxiliar, MODBUS_RTU_Tamanho_Buffer_RX) != HAL_OK)
        {
            // Trate erros do DMA, se necessário
            Error_Handler();
        }

        __HAL_DMA_DISABLE_IT(&MODBUS_RTU_HDMA_USART_RX, DMA_IT_HT);

		Bit.WD_MODBUS_RTU = 0;

		if (ContadorErroModbus > 0) ContadorErroModbus--;

		ContadorInterrupcaoUsartModbus++;
	} // Verificação USART MODBUS RTU
} // Interrupção UART

void HAL_TIM_PeriodElapsedCallback(TIM_HandleTypeDef *htim)
{
	if (htim == &htim3)
	{
		if (flagI2C == 0)
		{
			contadorFlagI2C++;
		}

		if (contadorFlagI2C >= 100)
		{
			flagI2C = 1;
		}

		if (Bit.M_LED_Erro == 1)
		{
			ContadorLedErro++;

			if (ContadorLedErro >= TEMPO_LED_ERRO)
			{
				HAL_GPIO_WritePin(GPIO_LED_Erro, LED_Erro_Pin, 0);
				ContadorLedErro = 0;
				Bit.M_LED_Erro = 0;
			}
		}
		else
		{
			ContadorLedErro = 0;
		}

		TemporizadorInterrupcaoUsartModbus++;
	} //htim3
} //Interrupção Timers
/* USER CODE END PFP */

int main(void)
{

  /* USER CODE BEGIN 1 */
	memset(MODBUS_RTU_Buffer_RX_Auxiliar, '\0', sizeof(MODBUS_RTU_Buffer_RX_Auxiliar));
  /* USER CODE END 1 */

  /* MCU Configuration--------------------------------------------------------*/

  /* Reset of all peripherals, Initializes the Flash interface and the Systick. */
  HAL_Init();

  /* Configure the system clock */
  SystemClock_Config();

  /* Initialize all configured peripherals */
  MX_GPIO_Init();
  MX_DMA_Init();
  MX_I2C1_Init();
  MX_USART6_UART_Init();
  MX_TIM3_Init();
  MX_IWDG_Init();
  /* USER CODE BEGIN 2 */
  HAL_TIM_Base_Start_IT(&htim3);

  HAL_GPIO_WritePin(GPIOC, LED_BP_Pin, 1);
  HAL_Delay(200);
  HAL_GPIO_WritePin(GPIOC, LED_BP_Pin, 0); //Led Inicia Ligado (Aparentemente o LED interno é invertido na Black Pill).
  /* USER CODE END 2 */

  /* Infinite loop */
  /* USER CODE BEGIN WHILE */
  while (1)
  {

	  if (flagI2C == 1)
	  {
		  falhaI2C = ReadData(rxDataValue, sizeof(rxDataValue));

	      if (falhaI2C == 0)
	      {
	          // Só atualiza os registradores Modbus se a leitura I2C foi um sucesso!
	          Input_Registers[0] = ((uint16_t)rxDataValue[1] << 8) | rxDataValue[0];

			  Discrete_Inputs[0] = GET_Bit(rxDataValue[0], 0);
			  Discrete_Inputs[1] = GET_Bit(rxDataValue[0], 1);
			  Discrete_Inputs[2] = GET_Bit(rxDataValue[0], 2);
			  Discrete_Inputs[3] = GET_Bit(rxDataValue[0], 3);
			  Discrete_Inputs[4] = GET_Bit(rxDataValue[0], 4);
			  Discrete_Inputs[5] = GET_Bit(rxDataValue[0], 5);
			  Discrete_Inputs[6] = GET_Bit(rxDataValue[0], 6);
			  Discrete_Inputs[7] = GET_Bit(rxDataValue[0], 7);
			  Discrete_Inputs[8] = GET_Bit(rxDataValue[1], 0);
			  Discrete_Inputs[9] = GET_Bit(rxDataValue[1], 1);
			  Discrete_Inputs[10] = GET_Bit(rxDataValue[1], 2);
			  Discrete_Inputs[11] = GET_Bit(rxDataValue[1], 3);
			  Discrete_Inputs[Falha_I2C] = 0;
	      }
	      else
	      {
	    	  // Falha na leitura!
			  // 1. Zera os registradores para o supervisor Modbus saber que o sensor caiu
	    	  Discrete_Inputs[Falha_I2C] = 1;

			  // 2. TENTATIVA DE RECUPERAÇÃO DO HARDWARE I2C
			  // Verifica se o periférico I2C ficou preso/travado
			  if (HAL_I2C_GetState(&hi2c1) != HAL_I2C_STATE_READY)
			  {
				  // Desinicializa o periférico I2C (libera os pinos e reseta o hardware interno)
				  HAL_I2C_DeInit(&hi2c1);

				  // Dá um pequeno tempo para as linhas físicas relaxarem (pull-ups agirem)
				  HAL_Delay(2);

				  // Chama a função de inicialização padrão gerada pelo CubeMX para reviver o I2C
				  MX_I2C1_Init();
			  }
	      }
	      flagI2C = 0;
	  }

		if (!__HAL_UART_GET_IT_SOURCE(&MODBUS_RTU_USART, UART_IT_RXNE))
		{
			HAL_UARTEx_ReceiveToIdle_DMA(&MODBUS_RTU_USART, MODBUS_RTU_Buffer_RX_Auxiliar, MODBUS_RTU_Tamanho_Buffer_RX);
		}

		if (TemporizadorInterrupcaoUsartModbus >= 8000)
		{
			if (ContadorInterrupcaoUsartModbus < 4)
			{
		        // Reinicia o DMA para o próximo recebimento
		        if (HAL_UARTEx_ReceiveToIdle_DMA(&MODBUS_RTU_USART, MODBUS_RTU_Buffer_RX_Auxiliar, MODBUS_RTU_Tamanho_Buffer_RX) != HAL_OK)
		        {
		            // Trate erros do DMA, se necessário
		            Error_Handler();
		        }

		        __HAL_DMA_DISABLE_IT(&MODBUS_RTU_HDMA_USART_RX, DMA_IT_HT);
			}

			ContadorInterrupcaoUsartModbus = 0;
			TemporizadorInterrupcaoUsartModbus = 0;

		}

		if (Bit.WD_MODBUS_RTU == 0 && ContadorErroModbus < QTD_ERRO_MODBUS)
		{
		  HAL_IWDG_Refresh(&hiwdg);

		  Bit.WD_MODBUS_RTU = 1;
		}

    /* USER CODE END WHILE */

  }
}

void SystemClock_Config(void)
{
  RCC_OscInitTypeDef RCC_OscInitStruct = {0};
  RCC_ClkInitTypeDef RCC_ClkInitStruct = {0};

  /** Configure the main internal regulator output voltage
  */
  __HAL_RCC_PWR_CLK_ENABLE();
  __HAL_PWR_VOLTAGESCALING_CONFIG(PWR_REGULATOR_VOLTAGE_SCALE1);

  /** Initializes the RCC Oscillators according to the specified parameters
  * in the RCC_OscInitTypeDef structure.
  */
  RCC_OscInitStruct.OscillatorType = RCC_OSCILLATORTYPE_LSI|RCC_OSCILLATORTYPE_HSE;
  RCC_OscInitStruct.HSEState = RCC_HSE_ON;
  RCC_OscInitStruct.LSIState = RCC_LSI_ON;
  RCC_OscInitStruct.PLL.PLLState = RCC_PLL_ON;
  RCC_OscInitStruct.PLL.PLLSource = RCC_PLLSOURCE_HSE;
  RCC_OscInitStruct.PLL.PLLM = 12;
  RCC_OscInitStruct.PLL.PLLN = 96;
  RCC_OscInitStruct.PLL.PLLP = RCC_PLLP_DIV2;
  RCC_OscInitStruct.PLL.PLLQ = 4;
  if (HAL_RCC_OscConfig(&RCC_OscInitStruct) != HAL_OK)
  {
    Error_Handler();
  }

  /** Initializes the CPU, AHB and APB buses clocks
  */
  RCC_ClkInitStruct.ClockType = RCC_CLOCKTYPE_HCLK|RCC_CLOCKTYPE_SYSCLK
                              |RCC_CLOCKTYPE_PCLK1|RCC_CLOCKTYPE_PCLK2;
  RCC_ClkInitStruct.SYSCLKSource = RCC_SYSCLKSOURCE_PLLCLK;
  RCC_ClkInitStruct.AHBCLKDivider = RCC_SYSCLK_DIV1;
  RCC_ClkInitStruct.APB1CLKDivider = RCC_HCLK_DIV2;
  RCC_ClkInitStruct.APB2CLKDivider = RCC_HCLK_DIV1;

  if (HAL_RCC_ClockConfig(&RCC_ClkInitStruct, FLASH_LATENCY_3) != HAL_OK)
  {
    Error_Handler();
  }
}

static void MX_I2C1_Init(void)
{

  hi2c1.Instance = I2C1;
  hi2c1.Init.ClockSpeed = 100000;
  hi2c1.Init.DutyCycle = I2C_DUTYCYCLE_2;
  hi2c1.Init.OwnAddress1 = 0;
  hi2c1.Init.AddressingMode = I2C_ADDRESSINGMODE_7BIT;
  hi2c1.Init.DualAddressMode = I2C_DUALADDRESS_DISABLE;
  hi2c1.Init.OwnAddress2 = 0;
  hi2c1.Init.GeneralCallMode = I2C_GENERALCALL_DISABLE;
  hi2c1.Init.NoStretchMode = I2C_NOSTRETCH_DISABLE;
  if (HAL_I2C_Init(&hi2c1) != HAL_OK)
  {
    Error_Handler();
  }

}

static void MX_IWDG_Init(void)
{

  hiwdg.Instance = IWDG;
  hiwdg.Init.Prescaler = IWDG_PRESCALER_256;
  hiwdg.Init.Reload = 1500-1;
  if (HAL_IWDG_Init(&hiwdg) != HAL_OK)
  {
    Error_Handler();
  }

}

static void MX_TIM3_Init(void)
{

  TIM_ClockConfigTypeDef sClockSourceConfig = {0};
  TIM_MasterConfigTypeDef sMasterConfig = {0};

  htim3.Instance = TIM3;
  htim3.Init.Prescaler = 10000-1;
  htim3.Init.CounterMode = TIM_COUNTERMODE_UP;
  htim3.Init.Period = 10-1;
  htim3.Init.ClockDivision = TIM_CLOCKDIVISION_DIV1;
  htim3.Init.AutoReloadPreload = TIM_AUTORELOAD_PRELOAD_ENABLE;
  if (HAL_TIM_Base_Init(&htim3) != HAL_OK)
  {
    Error_Handler();
  }
  sClockSourceConfig.ClockSource = TIM_CLOCKSOURCE_INTERNAL;
  if (HAL_TIM_ConfigClockSource(&htim3, &sClockSourceConfig) != HAL_OK)
  {
    Error_Handler();
  }
  sMasterConfig.MasterOutputTrigger = TIM_TRGO_RESET;
  sMasterConfig.MasterSlaveMode = TIM_MASTERSLAVEMODE_DISABLE;
  if (HAL_TIMEx_MasterConfigSynchronization(&htim3, &sMasterConfig) != HAL_OK)
  {
    Error_Handler();
  }

}

static void MX_USART6_UART_Init(void)
{

  huart6.Instance = USART6;
  huart6.Init.BaudRate = 9600;
  huart6.Init.WordLength = UART_WORDLENGTH_8B;
  huart6.Init.StopBits = UART_STOPBITS_1;
  huart6.Init.Parity = UART_PARITY_NONE;
  huart6.Init.Mode = UART_MODE_TX_RX;
  huart6.Init.HwFlowCtl = UART_HWCONTROL_NONE;
  huart6.Init.OverSampling = UART_OVERSAMPLING_16;
  if (HAL_UART_Init(&huart6) != HAL_OK)
  {
    Error_Handler();
  }

}

static void MX_DMA_Init(void)
{

  /* DMA controller clock enable */
  __HAL_RCC_DMA2_CLK_ENABLE();

  /* DMA interrupt init */
  /* DMA2_Stream1_IRQn interrupt configuration */
  HAL_NVIC_SetPriority(DMA2_Stream1_IRQn, 0, 0);
  HAL_NVIC_EnableIRQ(DMA2_Stream1_IRQn);

}

static void MX_GPIO_Init(void)
{
  GPIO_InitTypeDef GPIO_InitStruct = {0};

  /* GPIO Ports Clock Enable */
  __HAL_RCC_GPIOC_CLK_ENABLE();
  __HAL_RCC_GPIOH_CLK_ENABLE();
  __HAL_RCC_GPIOB_CLK_ENABLE();
  __HAL_RCC_GPIOA_CLK_ENABLE();

  /*Configure GPIO pin Output Level */
  HAL_GPIO_WritePin(LED_BP_GPIO_Port, LED_BP_Pin, GPIO_PIN_RESET);

  /*Configure GPIO pin Output Level */
  HAL_GPIO_WritePin(LED_Erro_GPIO_Port, LED_Erro_Pin, GPIO_PIN_RESET);

  /*Configure GPIO pin : LED_BP_Pin */
  GPIO_InitStruct.Pin = LED_BP_Pin;
  GPIO_InitStruct.Mode = GPIO_MODE_OUTPUT_PP;
  GPIO_InitStruct.Pull = GPIO_NOPULL;
  GPIO_InitStruct.Speed = GPIO_SPEED_FREQ_LOW;
  HAL_GPIO_Init(LED_BP_GPIO_Port, &GPIO_InitStruct);

  /*Configure GPIO pin : LED_Erro_Pin */
  GPIO_InitStruct.Pin = LED_Erro_Pin;
  GPIO_InitStruct.Mode = GPIO_MODE_OUTPUT_PP;
  GPIO_InitStruct.Pull = GPIO_NOPULL;
  GPIO_InitStruct.Speed = GPIO_SPEED_FREQ_LOW;
  HAL_GPIO_Init(LED_Erro_GPIO_Port, &GPIO_InitStruct);

}

void Error_Handler(void)
{
  __disable_irq();
  while (1)
  {
  }
}
